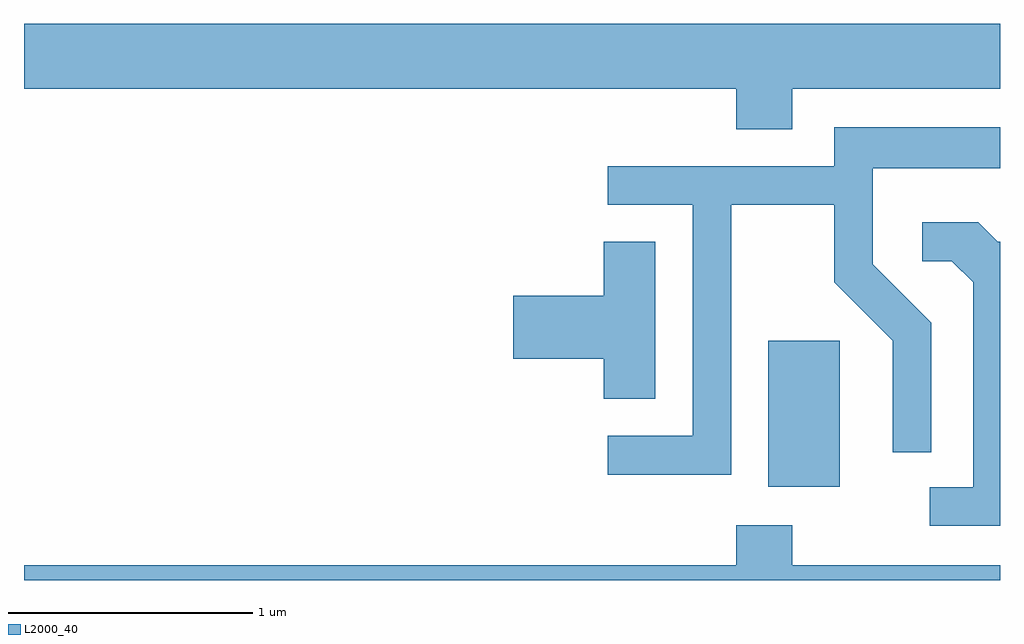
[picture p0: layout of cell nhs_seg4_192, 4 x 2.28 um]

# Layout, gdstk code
import gdstk
lib = gdstk.Library(unit=1e-6, precision=1e-09)
def R(c, l, rs):  # rectangles x0, y0, x1, y1
    for r in rs: c.add(gdstk.rectangle(r[:2], r[2:], *l))
def P(c, l, *ps):  # polygons
    for p in ps: c.add(gdstk.Polygon(p, *l))
L2000_40 = (2000, 40)

nhs_seg4_192 = lib.new_cell('nhs_seg4_192')
R(nhs_seg4_192, L2000_40, [(192.661,1366.366,192.954,1366.964)])
P(nhs_seg4_192, L2000_40, [(192.759,1367.996),(193.611,1367.996),(193.611,1368.264),(189.611,1368.264),(189.611,1367.996),(192.531,1367.996),(192.531,1367.831),(192.759,1367.831)],
  [(192.509,1367.521),(192.931,1367.521),(192.931,1367.204),(193.171,1366.964),(193.171,1366.508),(193.329,1366.508),(193.329,1367.037),(193.089,1367.277),(193.089,1367.671),(193.611,1367.671),(193.611,1367.839),(192.931,1367.839),(192.931,1367.679),(192.003,1367.679),(192.003,1367.521),(192.351,1367.521),(192.351,1366.574),(192.003,1366.574),(192.003,1366.416),(192.509,1366.416)],
  [(193.611,1367.369),(193.602,1367.369),(193.522,1367.449),(193.293,1367.449),(193.293,1367.291),(193.414,1367.291),(193.501,1367.204),(193.501,1366.364),(193.323,1366.364),(193.323,1366.206),(193.611,1366.206)],
  [(192.199,1367.369),(191.986,1367.369),(191.986,1367.149),(191.616,1367.149),(191.616,1366.891),(191.986,1366.891),(191.986,1366.726),(192.199,1366.726)],
  [(193.611,1366.044),(192.759,1366.044),(192.759,1366.209),(192.531,1366.209),(192.531,1366.044),(189.611,1366.044),(189.611,1365.982),(193.611,1365.982)])

lib.write_gds('nhs_seg4_192.gds')
